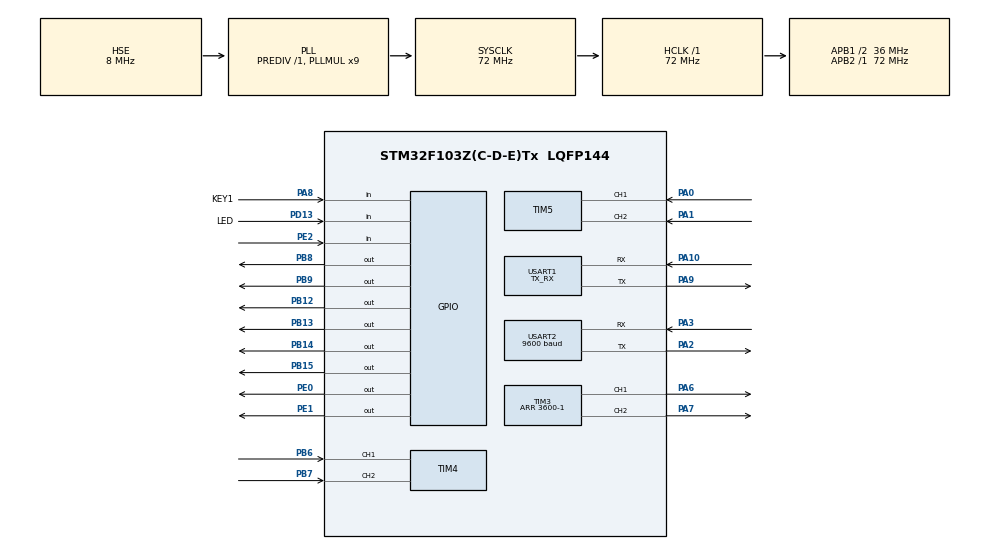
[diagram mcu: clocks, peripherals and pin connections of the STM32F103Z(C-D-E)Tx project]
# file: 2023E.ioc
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Mcu.Family=STM32F1
Mcu.Name=STM32F103Z(C-D-E)Tx
Mcu.Package=LQFP144
NVIC.PriorityGroup=NVIC_PRIORITYGROUP_4
NVIC.TIM2_IRQn=true\:4\:0\:true\:false\:true\:true\:true\:true
NVIC.USART1_IRQn=true\:0\:0\:true\:false\:true\:true\:true\:true
NVIC.USART2_IRQn=true\:4\:0\:true\:false\:true\:true\:true\:true
OSC_IN.Mode=HSE-External-Oscillator
OSC_IN.Signal=RCC_OSC_IN
OSC_OUT.Mode=HSE-External-Oscillator
OSC_OUT.Signal=RCC_OSC_OUT
PA0-WKUP.GPIO_PuPd=GPIO_PULLUP
PA0-WKUP.Signal=S_TIM5_CH1
PA1.GPIO_PuPd=GPIO_PULLUP
PA1.Signal=S_TIM5_CH2
PA10.Mode=Asynchronous
PA10.Signal=USART1_RX
PA13.Mode=Serial_Wire
PA13.Signal=SYS_JTMS-SWDIO
PA14.Mode=Serial_Wire
PA14.Signal=SYS_JTCK-SWCLK
PA2.Mode=Asynchronous
PA2.Signal=USART2_TX
PA3.Mode=Asynchronous
PA3.Signal=USART2_RX
PA6.Signal=S_TIM3_CH1
PA7.Signal=S_TIM3_CH2
PA8.GPIO_Label=KEY1
PA8.GPIO_PuPd=GPIO_PULLUP
PA8.Signal=GPIO_Input
PA9.Mode=Asynchronous
PA9.Signal=USART1_TX
PB12.Signal=GPIO_Output
PB13.Signal=GPIO_Output
PB14.Signal=GPIO_Output
PB15.Signal=GPIO_Output
PB6.Signal=S_TIM4_CH1
PB7.Signal=S_TIM4_CH2
PB8.Signal=GPIO_Output
PB9.Signal=GPIO_Output
PD13.GPIO_Label=LED
PD13.GPIO_PuPd=GPIO_PULLUP
PD13.Signal=GPIO_Input
PE0.GPIO_ModeDefaultOutputPP=GPIO_MODE_OUTPUT_OD
PE0.GPIO_PuPd=GPIO_NOPULL
PE0.PinState=GPIO_PIN_RESET
PE0.Signal=GPIO_Output
PE1.GPIO_ModeDefaultOutputPP=GPIO_MODE_OUTPUT_OD
PE1.GPIO_PuPd=GPIO_NOPULL
PE1.PinState=GPIO_PIN_RESET
PE1.Signal=GPIO_Output
PE2.Signal=GPIO_Input
ProjectManager.HeapSize=0x200
ProjectManager.StackSize=0x400
ProjectManager.TargetToolchain=MDK-ARM V5.32
RCC.AHBFreq_Value=72000000
RCC.APB1CLKDivider=RCC_HCLK_DIV2
RCC.APB1Freq_Value=36000000
RCC.APB1TimFreq_Value=72000000
RCC.APB2Freq_Value=72000000
RCC.APB2TimFreq_Value=72000000
RCC.HCLKFreq_Value=72000000
RCC.PLLMUL=RCC_PLL_MUL9
RCC.PLLSourceVirtual=RCC_PLLSOURCE_HSE
RCC.SYSCLKFreq_VALUE=72000000
RCC.SYSCLKSource=RCC_SYSCLKSOURCE_PLLCLK
RCC.USBFreq_Value=72000000
SH.S_TIM3_CH1.0=TIM3_CH1,PWM Generation1 CH1
SH.S_TIM3_CH2.0=TIM3_CH2,PWM Generation2 CH2
SH.S_TIM4_CH1.0=TIM4_CH1,Encoder_Interface
SH.S_TIM4_CH2.0=TIM4_CH2,Encoder_Interface
SH.S_TIM5_CH1.0=TIM5_CH1,Encoder_Interface
SH.S_TIM5_CH2.0=TIM5_CH2,Encoder_Interface
TIM2.Period=1000-1
TIM2.Prescaler=720-1
TIM3.Channel-PWM\ Generation1\ CH1=TIM_CHANNEL_1
TIM3.Channel-PWM\ Generation2\ CH2=TIM_CHANNEL_2
TIM3.Period=3600-1
TIM4.EncoderMode=TIM_ENCODERMODE_TI12
TIM4.IC1Filter=10
TIM4.IC2Filter=10
TIM5.EncoderMode=TIM_ENCODERMODE_TI12
TIM5.IC1Filter=10
TIM5.IC2Filter=10
USART1.Mode=MODE_TX_RX
USART1.VirtualMode=VM_ASYNC
USART2.BaudRate=9600
USART2.VirtualMode=VM_ASYNC
VP_TIM2_VS_ClockSourceINT.Mode=Internal
VP_TIM3_VS_ClockSourceINT.Mode=Internal
board=custom

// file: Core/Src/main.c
/* USER CODE BEGIN Header */
/**
  ******************************************************************************
  * @file           : main.c
  * @brief          : Main program body
  ******************************************************************************
  * @attention
  *
  * Copyright (c) 2024 STMicroelectronics.
  * All rights reserved.
  *
  * This software is licensed under terms that can be found in the LICENSE file
  * in the root directory of this software component.
  * If no LICENSE file comes with this software, it is provided AS-IS.
  *
  ******************************************************************************
  */
/* USER CODE END Header */
#include "main.h"
#include "tim.h"
#include "usart.h"
#include "gpio.h"

/* USER CODE BEGIN PV */

//extern int task_flag;
uint8_t cmd;
uint8_t TL=2,TR=2;

int Target_Velocity_L,Target_Velocity_R
    ,Reality_Velocity_L,Reality_Velocity_R;
int Target_Position_L,Target_Position_R
    ,Reality_Position_L,Reality_Position_R,
		Target_speed_L,Target_speed_R;
int i;
uint8_t speed_L,speed_R;
/* USER CODE END PV */

void SystemClock_Config(void);

/* USER CODE BEGIN 0 */
//void base1(void)
//{
//
//
//			control_x(0);
//	control_y(0);
//
//}
/* USER CODE END 0 */

int main(void)
{

  /* MCU Configuration--------------------------------------------------------*/

  /* Reset of all peripherals, Initializes the Flash interface and the Systick. */
  HAL_Init();

  /* Configure the system clock */
  SystemClock_Config();

  /* Initialize all configured peripherals */
  MX_GPIO_Init();
  MX_USART1_UART_Init();
  MX_TIM2_Init();
  MX_TIM4_Init();
  MX_TIM5_Init();
  MX_USART2_UART_Init();
  MX_TIM3_Init();
  /* USER CODE BEGIN 2 */
	OLED_Init();

//	MPU6050_Init();
	PID_Init(1,0.03,0.01,5,0.1,0.25);
//	HAL_UART_Receive_IT(&huart1,(void *)&cmd, 1);

  /* USER CODE END 2 */

  /* Infinite loop */
  /* USER CODE BEGIN WHILE */
  while (1)
  {
    Target_Position_L=Num_Encoder_Cnt(1,11,9.6);
		Target_Position_R=Num_Encoder_Cnt(1,11,9.6);
		speed_L=Moto_Speed(Reality_Velocity_L,11,9.6);
		speed_R=Moto_Speed(Reality_Velocity_R,11,9.6);
		OLED_ShowNum(1,1,Reality_Position_R,5);
		OLED_ShowNum(1,8,Target_Position_L,5);
		OLED_ShowNum(2,1,Reality_Position_L,5);
		OLED_ShowNum(3,1,cmd,5);
//		if(task_flag==0x01){
//			Target_speed_L=-2;
//			Target_speed_R=2;
//		}
//

//		speed = Moto_Speed(Reality_Velocity[1],500,30,100);

//
//		printf("串口打印测试\n");
//		HAL_Delay(1000);
//		Target_Position_L=Num_Encoder_Cnt(2,11,9.6);
//		Target_Position_R=Num_Encoder_Cnt(2,11,9.6);
//		OLED_ShowNum(3,1,speed_L,6);
//
//		OLED_ShowNum(4,1,Reality_Position_R,6);
//		OLED_ShowNum(4,8,Reality_Velocity_R,6);
//		Data_send(Target_Position_L,Reality_Position_L,0,0);
    /* USER CODE END WHILE */

  }
}

void SystemClock_Config(void)
{
  RCC_OscInitTypeDef RCC_OscInitStruct = {0};
  RCC_ClkInitTypeDef RCC_ClkInitStruct = {0};

  /** Initializes the RCC Oscillators according to the specified parameters
  * in the RCC_OscInitTypeDef structure.
  */
  RCC_OscInitStruct.OscillatorType = RCC_OSCILLATORTYPE_HSE;
  RCC_OscInitStruct.HSEState = RCC_HSE_ON;
  RCC_OscInitStruct.HSEPredivValue = RCC_HSE_PREDIV_DIV1;
  RCC_OscInitStruct.HSIState = RCC_HSI_ON;
  RCC_OscInitStruct.PLL.PLLState = RCC_PLL_ON;
  RCC_OscInitStruct.PLL.PLLSource = RCC_PLLSOURCE_HSE;
  RCC_OscInitStruct.PLL.PLLMUL = RCC_PLL_MUL9;
  if (HAL_RCC_OscConfig(&RCC_OscInitStruct) != HAL_OK)
  {
    Error_Handler();
  }

  /** Initializes the CPU, AHB and APB buses clocks
  */
  RCC_ClkInitStruct.ClockType = RCC_CLOCKTYPE_HCLK|RCC_CLOCKTYPE_SYSCLK
                              |RCC_CLOCKTYPE_PCLK1|RCC_CLOCKTYPE_PCLK2;
  RCC_ClkInitStruct.SYSCLKSource = RCC_SYSCLKSOURCE_PLLCLK;
  RCC_ClkInitStruct.AHBCLKDivider = RCC_SYSCLK_DIV1;
  RCC_ClkInitStruct.APB1CLKDivider = RCC_HCLK_DIV2;
  RCC_ClkInitStruct.APB2CLKDivider = RCC_HCLK_DIV1;

  if (HAL_RCC_ClockConfig(&RCC_ClkInitStruct, FLASH_LATENCY_2) != HAL_OK)
  {
    Error_Handler();
  }
}

/* USER CODE BEGIN 4 */

//串口接收中断函数
void HAL_UART_RxCpltCallback(UART_HandleTypeDef *huart)
{
	uint16_t Serial_RxData;
  if(huart->Instance==USART1){
		Serial_RxData=cmd;
//		openmv_receive(Serial_RxData);
	}
	HAL_UART_Receive_IT(&huart1,(void *)&cmd, 1);   //锟劫匡拷锟斤拷锟斤拷锟斤拷锟叫讹拷
}

void HAL_TIM_PeriodElapsedCallback(TIM_HandleTypeDef *htim)
{
    int Moto_L = 0 , Moto_R = 0;
    if (htim->Instance == TIM2)
    {
//
      	Reality_Velocity_L = Read_Encoder(5);
				Reality_Velocity_R = Read_Encoder(4);
	      Reality_Position_L += Reality_Velocity_L;                   /* 实际位置脉冲�? */
        Reality_Position_R += Reality_Velocity_R;

				Moto_L = Position_PID(Reality_Position_L,Target_Position_L);  /* 位置式位置控�? */                           /* 位置环输出限�? */
				Moto_R = Position_PID(Reality_Position_R,Target_Position_R);  /* 位置式位置控�? */

			/* 实际位置脉冲�? */
        Moto_L = Position_PID(speed_L,Target_speed_R);  /* 位置式位置控�? */
        Moto_L = limit(Moto_L,Target_speed_L);                    /* 位置环输出限�? */

        Moto_R = Position_PID(speed_R ,Target_speed_R);  /* 位置式位置控�? */
        Moto_R = limit(Moto_R,Target_speed_R);                    /* 位置环输出限�? */
//        Moto_L = Incremental_PID(Reality_Velocity_L,Moto_L);      /* 增量式�?�度控制 */
//
//        Moto_R = Incremental_PID(Reality_Velocity_R,Moto_R);      /* 增量式�?�度控制 */
        set_motor(Moto_L,Moto_R);                                      /* 赋�?? */
    }
}

/* USER CODE END 4 */

void Error_Handler(void)
{
  __disable_irq();
  while (1)
  {
  }
}
